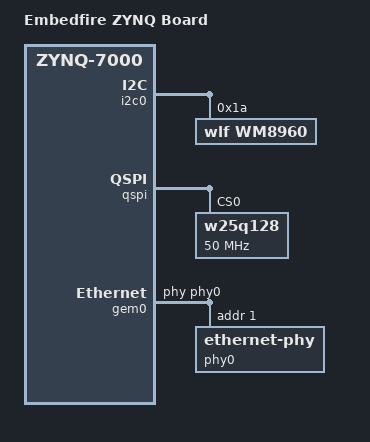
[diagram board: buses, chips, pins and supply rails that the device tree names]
/*
 * Prepared WM8960 route for the Wildfire Zynq-7020 board.
 *
 * This is based on the vendor Linux audio device tree. It keeps the onboard
 * right-channel microphone route and also powers the pink jack's left-channel
 * microphone inputs. It must be built into the board DTB before it takes effect.
 */

#include <dt-bindings/gpio/gpio.h>
#include <dt-bindings/input/input.h>
#include <dt-bindings/interrupt-controller/irq.h>
#include <dt-bindings/phy/phy.h>

/ {
    model = "Embedfire ZYNQ Board";
    compatible = "xlnx,zynq-ebf", "xlnx,zynq-7000";
    cpus {
        cpu@0 {
            operating-points = <666667 1000000 333334 1000000>;
        };
    };
    chosen {
        bootargs = "console=ttyPS0,115200 earlycon";
        stdout-path = "serial0:115200n8";
    };
};

&i2c0 {
    #address-cells = <1>;
    #size-cells = <0>;
    wm8960: codec@1a {
        compatible = "wlf,wm8960";
        reg = <0x1a>;
        wlf,shared-lrclk;
        wlf,hp-cfg = <3 3 3>;
    };
};

&audio_axi_dynclk_0 {
    compatible = "dglnt,axi-dynclk";
    #clock-cells = <1>;
    clock-output-names = "audio-clk-out1";
};

&audio_audio_formatter_0 {
    clocks = <&clkc 15>, <&clkc 15>, <&audio_axi_dynclk_0 0>, <&clkc 15>;
    audio-codec = <&wm8960>;
    audio-routing =
        "LINPUT1", "MICB",
        "LINPUT2", "MICB",
        "RINPUT1", "MICB",
        "RINPUT2", "MICB";
};

&audio_i2s_receiver_0 {
    clocks = <&clkc 15>, <&audio_axi_dynclk_0 0>, <&clkc 15>;
};

&audio_i2s_transmitter_0 {
    clocks = <&clkc 15>, <&audio_axi_dynclk_0 0>, <&clkc 15>;
};

&qspi {
    w25q128: w25q128@0 {
        #address-cells = <1>;
        #size-cells = <1>;
        spi-rx-bus-width = <4>;
        spi-tx-bus-width = <4>;
        compatible = "w25q128", "jedec,spi-nor";
        reg = <0>;
        spi-max-frequency = <50000000>;
    };
};

&gem0 {
    local-mac-address = [00 0a 35 20 8b 89];
    phy-handle = <&phy0>;
    phy0: ethernet-phy@1 {
        reg = <1>;
        device_type = "ethernet-phy";
    };
};
